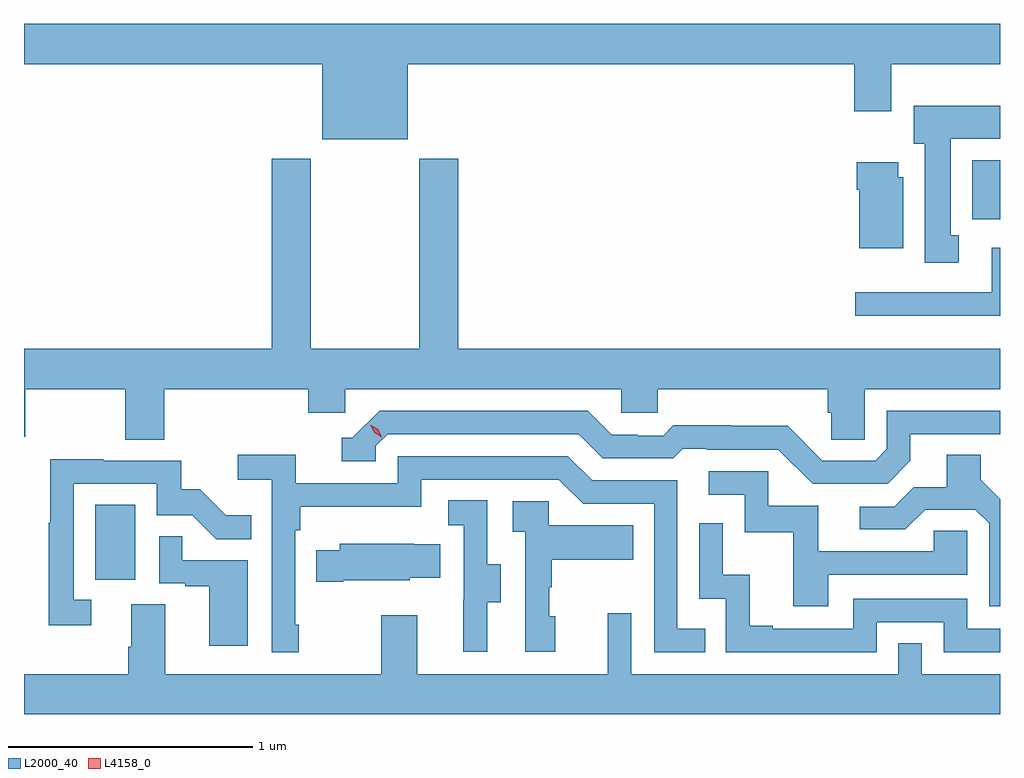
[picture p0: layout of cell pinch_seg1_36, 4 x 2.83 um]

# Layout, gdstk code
import gdstk
lib = gdstk.Library(unit=1e-6, precision=1e-09)
def R(c, l, rs):  # rectangles x0, y0, x1, y1
    for r in rs: c.add(gdstk.rectangle(r[:2], r[2:], *l))
def P(c, l, *ps):  # polygons
    for p in ps: c.add(gdstk.Polygon(p, *l))
L2000_40 = (2000, 40)
L4158_0 = (4158, 0)

pinch_seg1_36 = lib.new_cell('pinch_seg1_36')
R(pinch_seg1_36, L2000_40, [(1116.812,566.934,1116.976,567.241), (1120.406,568.412,1120.52,568.654)])
P(pinch_seg1_36, L2000_40, [(1118.092,569.048),(1119.923,569.048),(1119.923,568.854),(1120.075,568.854),(1120.075,569.048),(1120.52,569.048),(1120.52,569.212),(1116.52,569.212),(1116.52,569.048),(1117.742,569.048),(1117.742,568.739),(1118.092,568.739)],
  [(1120.351,568.346),(1120.318,568.346),(1120.318,568.742),(1120.52,568.742),(1120.52,568.876),(1120.166,568.876),(1120.166,568.722),(1120.211,568.722),(1120.211,568.233),(1120.351,568.233)],
  [(1117.094,567.716),(1117.685,567.716),(1117.685,567.618),(1117.836,567.618),(1117.836,567.716),(1118.967,567.716),(1118.967,567.618),(1119.117,567.618),(1119.117,567.716),(1119.815,567.716),(1119.815,567.618),(1119.829,567.618),(1119.829,567.508),(1119.966,567.508),(1119.966,567.716),(1120.52,567.716),(1120.52,567.88),(1118.3,567.88),(1118.3,568.66),(1118.14,568.66),(1118.14,567.88),(1117.695,567.88),(1117.695,568.66),(1117.535,568.66),(1117.535,567.88),(1116.52,567.88),(1116.52,567.52),(1116.525,567.52),(1116.525,567.716),(1116.934,567.716),(1116.934,567.508),(1117.094,567.508)],
  [(1120.123,568.584),(1120.102,568.584),(1120.102,568.645),(1119.932,568.645),(1119.932,568.532),(1119.944,568.532),(1119.944,568.292),(1120.123,568.292)],
  [(1120.52,568.294),(1120.487,568.294),(1120.487,568.113),(1119.927,568.113),(1119.927,568.016),(1120.52,568.016)],
  [(1120.153,567.421),(1120.153,567.531),(1120.52,567.531),(1120.52,567.627),(1120.056,567.627),(1120.056,567.471),(1120.008,567.423),(1119.792,567.423),(1119.65,567.565),(1119.414,567.565),(1119.414,567.568),(1119.181,567.568),(1119.139,567.525),(1119.036,567.525),(1119.036,567.528),(1118.929,567.528),(1118.83,567.627),(1117.977,567.627),(1117.866,567.516),(1117.823,567.516),(1117.823,567.42),(1117.962,567.42),(1117.962,567.483),(1118.01,567.531),(1118.793,567.531),(1118.892,567.432),(1119.181,567.432),(1119.22,567.471),(1119.319,567.471),(1119.319,567.468),(1119.612,567.468),(1119.753,567.327),(1120.059,567.327)],
  [(1117.645,566.749),(1117.632,566.749),(1117.632,567.137),(1117.652,567.137),(1117.652,567.233),(1118.148,567.233),(1118.148,567.345),(1118.712,567.345),(1118.811,567.246),(1119.102,567.246),(1119.102,566.637),(1119.311,566.637),(1119.311,566.733),(1119.198,566.733),(1119.198,567.342),(1118.848,567.342),(1118.749,567.441),(1118.052,567.441),(1118.052,567.33),(1117.634,567.33),(1117.634,567.446),(1117.395,567.446),(1117.395,567.344),(1117.536,567.344),(1117.536,566.637),(1117.645,566.637)],
  [(1120.52,567.265),(1120.441,567.344),(1120.441,567.446),(1120.301,567.446),(1120.301,567.314),(1120.166,567.314),(1120.086,567.234),(1119.945,567.234),(1119.945,567.141),(1120.132,567.141),(1120.213,567.222),(1120.419,567.222),(1120.476,567.165),(1120.476,566.826),(1120.52,566.826)],
  [(1116.796,566.853),(1116.723,566.853),(1116.723,567.327),(1117.065,567.327),(1117.065,567.198),(1117.209,567.198),(1117.307,567.1),(1117.451,567.1),(1117.451,567.199),(1117.347,567.199),(1117.24,567.306),(1117.164,567.306),(1117.164,567.423),(1116.845,567.423),(1116.845,567.428),(1116.627,567.428),(1116.627,567.167),(1116.622,567.167),(1116.622,566.748),(1116.796,566.748)],
  [(1119.817,566.955),(1120.386,566.955),(1120.386,567.135),(1120.249,567.135),(1120.249,567.051),(1119.775,567.051),(1119.775,567.237),(1119.57,567.237),(1119.57,567.378),(1119.327,567.378),(1119.327,567.282),(1119.474,567.282),(1119.474,567.129),(1119.673,567.129),(1119.673,566.826),(1119.817,566.826)],
  [(1118.419,566.842),(1118.473,566.842),(1118.473,566.997),(1118.418,566.997),(1118.418,567.26),(1118.259,567.26),(1118.259,567.157),(1118.322,567.157),(1118.322,566.853),(1118.321,566.853),(1118.321,566.64),(1118.419,566.64)],
  [(1118.698,566.784),(1118.673,566.784),(1118.673,566.903),(1118.683,566.903),(1118.683,567.017),(1119.017,567.017),(1119.017,567.157),(1118.67,567.157),(1118.67,567.255),(1118.523,567.255),(1118.523,567.131),(1118.574,567.131),(1118.574,566.64),(1118.698,566.64)],
  [(1120.014,566.76),(1120.29,566.76),(1120.29,566.637),(1120.52,566.637),(1120.52,566.733),(1120.386,566.733),(1120.386,566.856),(1119.918,566.856),(1119.918,566.733),(1119.589,566.733),(1119.589,566.746),(1119.494,566.746),(1119.494,566.954),(1119.384,566.954),(1119.384,567.166),(1119.288,567.166),(1119.288,566.856),(1119.396,566.856),(1119.396,566.637),(1120.014,566.637)],
  [(1117.438,567.015),(1117.169,567.015),(1117.169,567.113),(1117.074,567.113),(1117.074,566.919),(1117.181,566.919),(1117.181,566.907),(1117.28,566.907),(1117.28,566.664),(1117.438,566.664)],
  [(1117.828,566.933),(1118.1,566.933),(1118.1,566.942),(1118.225,566.942),(1118.225,567.079),(1118.117,567.079),(1118.117,567.082),(1117.815,567.082),(1117.815,567.055),(1117.717,567.055),(1117.717,566.926),(1117.828,566.926)],
  [(1120.52,566.548),(1120.2,566.548),(1120.2,566.675),(1120.104,566.675),(1120.104,566.548),(1119.009,566.548),(1119.009,566.797),(1118.912,566.797),(1118.912,566.548),(1118.131,566.548),(1118.131,566.788),(1117.984,566.788),(1117.984,566.548),(1117.099,566.548),(1117.099,566.834),(1116.959,566.834),(1116.959,566.66),(1116.947,566.66),(1116.947,566.548),(1116.52,566.548),(1116.52,566.384),(1120.52,566.384)])
P(pinch_seg1_36, L4158_0, [(1117.987,567.518),(1117.956,567.537),(1117.94,567.57),(1117.94,567.57),(1117.94,567.57),(1117.971,567.551),(1117.987,567.518),(1117.987,567.518)])

lib.write_gds('pinch_seg1_36.gds')
